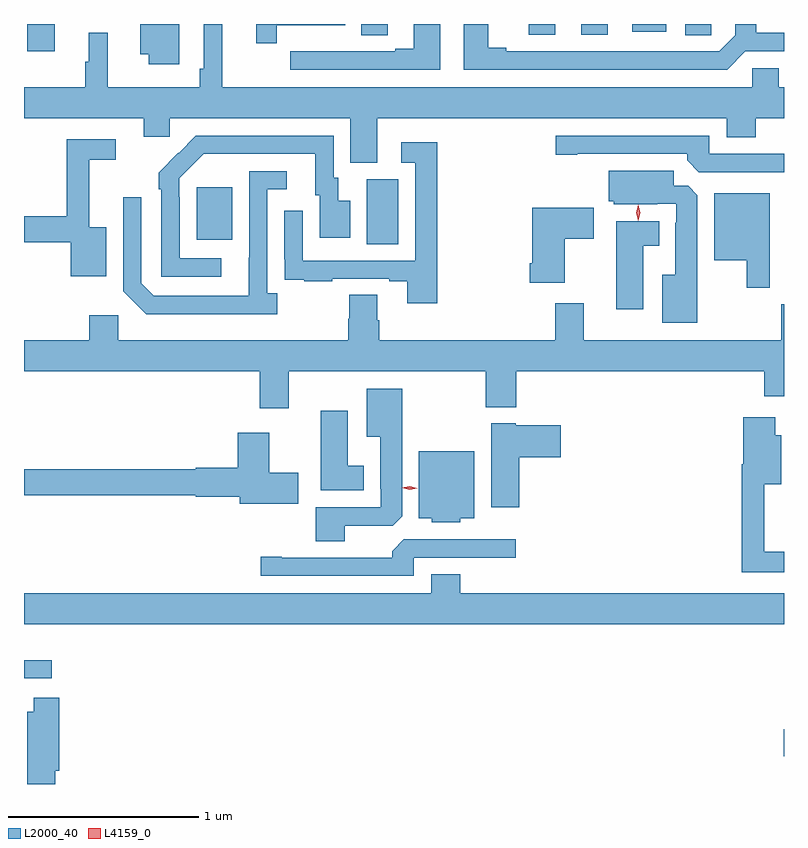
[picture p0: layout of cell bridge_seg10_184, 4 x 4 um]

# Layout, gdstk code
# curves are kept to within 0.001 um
import gdstk
lib = gdstk.Library(unit=1e-6, precision=1e-09)
def R(c, l, rs):  # rectangles x0, y0, x1, y1
    for r in rs: c.add(gdstk.rectangle(r[:2], r[2:], *l))
def P(c, l, *ps):  # polygons
    for p in ps: c.add(gdstk.Polygon(p, *l))
L2000_40 = (2000, 40)
L4159_0 = (4159, 0)

bridge_seg10_184 = lib.new_cell('bridge_seg10_184')
R(bridge_seg10_184, L2000_40, [(159.564,1279.642,159.565,1279.784), (155.565,1280.052,155.71,1280.148), (157.37,1282.336,157.534,1282.68), (156.473,1282.361,156.661,1282.636), (155.582,1283.352,155.728,1283.496), (157.34,1283.437,157.479,1283.496), (159.044,1283.437,159.183,1283.496), (158.222,1283.439,158.362,1283.496), (158.498,1283.439,158.638,1283.496), (158.766,1283.454,158.944,1283.496)])
P(bridge_seg10_184, L2000_40, [(156.896,1283.49),(157.255,1283.49),(157.255,1283.496),(156.788,1283.496),(156.788,1283.394),(156.896,1283.394)],
  [(159.361,1283.352),(159.565,1283.352),(159.565,1283.449),(159.418,1283.449),(159.418,1283.496),(159.309,1283.496),(159.309,1283.436),(159.225,1283.352),(158.104,1283.352),(158.104,1283.372),(158.008,1283.372),(158.008,1283.496),(157.88,1283.496),(157.88,1283.256),(159.265,1283.256)],
  [(157.423,1283),(159.263,1283),(159.263,1282.901),(159.416,1282.901),(159.416,1283),(159.565,1283),(159.565,1283.164),(159.537,1283.164),(159.537,1283.262),(159.399,1283.262),(159.399,1283.164),(156.608,1283.164),(156.608,1283.496),(156.51,1283.496),(156.51,1283.26),(156.49,1283.26),(156.49,1283.164),(156.005,1283.164),(156.005,1283.449),(155.906,1283.449),(155.906,1283.298),(155.887,1283.298),(155.887,1283.164),(155.565,1283.164),(155.565,1283),(156.194,1283),(156.194,1282.902),(156.333,1282.902),(156.333,1283),(157.283,1283),(157.283,1282.765),(157.423,1282.765)],
  [(156.382,1283.496),(156.176,1283.496),(156.176,1283.336),(156.221,1283.336),(156.221,1283.283),(156.382,1283.283)],
  [(157.756,1283.496),(157.616,1283.496),(157.616,1283.367),(157.52,1283.367),(157.52,1283.352),(157.244,1283.352),(157.244,1283.353),(157.078,1283.353),(157.078,1283.352),(156.966,1283.352),(156.966,1283.256),(157.756,1283.256)],
  [(159.565,1282.812),(159.171,1282.812),(159.171,1282.908),(158.364,1282.908),(158.364,1282.807),(158.476,1282.807),(158.476,1282.812),(159.056,1282.812),(159.056,1282.778),(159.117,1282.716),(159.565,1282.716)],
  [(156.604,1282.263),(156.384,1282.263),(156.384,1282.583),(156.381,1282.583),(156.381,1282.683),(156.51,1282.812),(157.097,1282.812),(157.097,1282.596),(157.121,1282.596),(157.121,1282.371),(157.282,1282.371),(157.282,1282.567),(157.219,1282.567),(157.219,1282.686),(157.194,1282.686),(157.194,1282.908),(156.47,1282.908),(156.273,1282.713),(156.273,1282.625),(156.288,1282.625),(156.288,1282.167),(156.604,1282.167)],
  [(155.998,1282.426),(155.909,1282.426),(155.909,1282.782),(156.049,1282.782),(156.049,1282.89),(155.791,1282.89),(155.791,1282.484),(155.565,1282.484),(155.565,1282.348),(155.811,1282.348),(155.811,1282.169),(155.998,1282.169)],
  [(157.739,1282.873),(157.551,1282.873),(157.551,1282.767),(157.623,1282.767),(157.623,1282.251),(157.032,1282.251),(157.032,1282.513),(156.936,1282.513),(156.936,1282.258),(156.937,1282.258),(156.937,1282.149),(157.039,1282.149),(157.039,1282.143),(157.187,1282.143),(157.187,1282.155),(157.487,1282.155),(157.487,1282.143),(157.583,1282.143),(157.583,1282.026),(157.739,1282.026)],
  [(159.109,1282.595),(159.06,1282.644),(158.986,1282.644),(158.986,1282.723),(158.642,1282.723),(158.642,1282.563),(158.67,1282.563),(158.67,1282.547),(158.897,1282.547),(158.897,1282.551),(158.997,1282.551),(158.997,1282.451),(158.993,1282.451),(158.993,1282.177),(158.924,1282.177),(158.924,1281.923),(159.109,1281.923)],
  [(156.898,1282.078),(156.846,1282.078),(156.846,1282.626),(156.949,1282.626),(156.949,1282.722),(156.75,1282.722),(156.749,1282.065),(156.249,1282.065),(156.183,1282.131),(156.183,1282.585),(156.087,1282.585),(156.087,1282.089),(156.208,1281.968),(156.898,1281.968)],
  [(159.49,1282.606),(159.197,1282.606),(159.197,1282.253),(159.368,1282.253),(159.368,1282.107),(159.49,1282.107)],
  [(158.41,1282.366),(158.563,1282.366),(158.563,1282.528),(158.24,1282.528),(158.24,1282.237),(158.228,1282.237),(158.228,1282.133),(158.41,1282.133)],
  [(158.824,1282.328),(158.908,1282.328),(158.908,1282.459),(158.681,1282.459),(158.681,1281.996),(158.824,1281.996)],
  [(156.958,1281.668),(157.996,1281.668),(157.996,1281.479),(158.156,1281.479),(158.156,1281.668),(159.461,1281.668),(159.461,1281.537),(159.565,1281.537),(159.565,1282.02),(159.55,1282.02),(159.55,1281.832),(158.512,1281.832),(158.512,1282.027),(158.36,1282.027),(158.36,1281.832),(157.436,1281.832),(157.436,1281.938),(157.423,1281.938),(157.423,1282.07),(157.276,1282.07),(157.276,1281.945),(157.271,1281.945),(157.271,1281.832),(156.06,1281.832),(156.06,1281.964),(155.909,1281.964),(155.909,1281.832),(155.565,1281.832),(155.565,1281.668),(156.806,1281.668),(156.806,1281.474),(156.958,1281.474)],
  [(157.252,1280.856),(157.506,1280.856),(157.555,1280.905),(157.555,1281.577),(157.37,1281.577),(157.37,1281.323),(157.439,1281.323),(157.439,1281.049),(157.443,1281.049),(157.443,1280.952),(157.1,1280.952),(157.1,1280.773),(157.252,1280.773)],
  [(157.354,1281.172),(157.27,1281.172),(157.27,1281.46),(157.127,1281.46),(157.127,1281.041),(157.354,1281.041)],
  [(159.565,1280.719),(159.461,1280.719),(159.461,1281.074),(159.55,1281.074),(159.55,1281.331),(159.52,1281.331),(159.52,1281.427),(159.35,1281.427),(159.35,1281.178),(159.343,1281.178),(159.343,1280.61),(159.565,1280.61)],
  [(158.171,1281.215),(158.389,1281.215),(158.389,1281.385),(158.154,1281.385),(158.154,1281.394),(158.024,1281.394),(158.024,1280.952),(158.171,1280.952)],
  [(157.009,1281.135),(156.856,1281.135),(156.856,1281.346),(156.689,1281.346),(156.689,1281.16),(156.468,1281.16),(156.468,1281.152),(155.565,1281.152),(155.565,1281.016),(156.468,1281.016),(156.468,1281.008),(156.701,1281.008),(156.701,1280.972),(157.009,1280.972)],
  [(157.86,1280.894),(157.936,1280.894),(157.936,1281.247),(157.643,1281.247),(157.643,1280.894),(157.71,1280.894),(157.71,1280.873),(157.86,1280.873)],
  [(157.617,1280.688),(158.152,1280.688),(158.152,1280.784),(157.563,1280.784),(157.502,1280.722),(157.502,1280.688),(156.922,1280.688),(156.922,1280.693),(156.81,1280.693),(156.81,1280.592),(157.617,1280.592)],
  [(159.565,1280.5),(157.862,1280.5),(157.862,1280.599),(157.709,1280.599),(157.709,1280.5),(155.565,1280.5),(155.565,1280.336),(159.565,1280.336)],
  [(155.729,1279.566),(155.75,1279.566),(155.75,1279.951),(155.615,1279.951),(155.615,1279.876),(155.582,1279.876),(155.582,1279.496),(155.729,1279.496)])
P(bridge_seg10_184, L4159_0, [(158.798,1282.461),(158.798,1282.462),(158.788,1282.503),(158.798,1282.544),(158.798,1282.544),(158.798,1282.544),(158.808,1282.503),(158.798,1282.462)],
  [(157.595,1281.044),(157.554,1281.054),(157.554,1281.054),(157.554,1281.055),(157.595,1281.064),(157.636,1281.053),(157.636,1281.053),(157.636,1281.053)])

lib.write_gds('bridge_seg10_184.gds')
